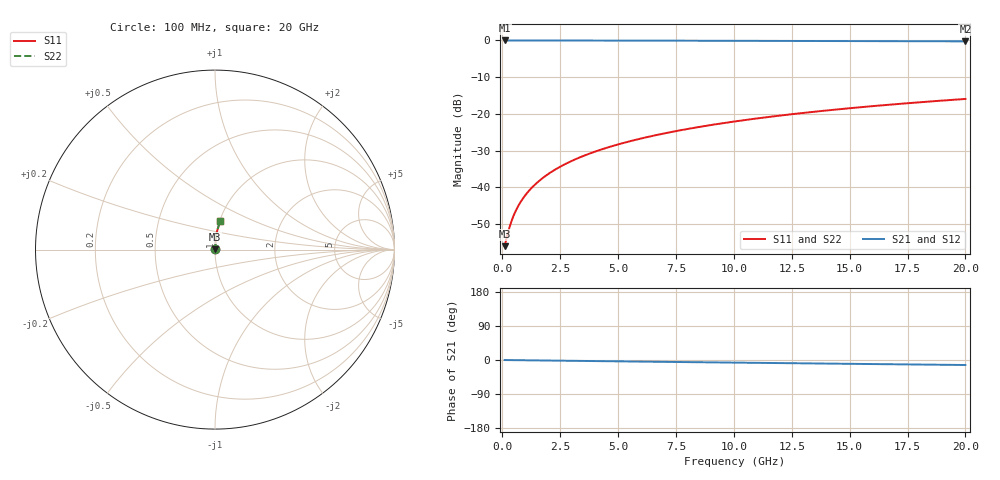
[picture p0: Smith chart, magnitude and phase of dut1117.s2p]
! Touchstone file exported from HFSS 2024.1.0
!  File:  C:/UserFiles/LocalFiles/RDL_TSV_Batchsim/temp_RDL_top_1117_1780046919.aedt
!  Generated:  05:30:55 PM May 29, 2026
!  Design:  RDL_top
!  Project:  temp_RDL_top_1117_1780046919
!  Setup:  Setup1
!  Solution:  Sweep
! Variables:
!  dtsv = 10.80580581um
!  hbump = 3um
!  htsv = 64.33um
!  ldown = 100um
!  lrdl = 154.75um
!  p = 40
!  p1 = 40.44um
!  rhole = 1um
!  t = 450um
!  tdown = 3.915915916um
!  trdl = 3.1um
!  wdown = 15.38538539um
!  wrdl = 15.6um
# GHz S MA R 50.000000
! Terminal data exported
! Port[1] = Box2_T1
! Port[2] = Box2_T2
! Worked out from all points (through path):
!   200 points, 100 MHz to 20 GHz, reference 50 ohm
!   highest |S21| = -0.01 dB at 100 MHz (marker M1); lowest = -0.3 dB at 20 GHz (marker M2)
!   group delay of S21, straight-line fit = 1.82 ps
!   lowest |S11| = -56.1 dB at 100 MHz (marker M3), VSWR 1.00, Z = 50.1 + j0.0808 ohm
!   |S11| at or under -10 dB: start of sweep to end of sweep
!   |S22| runs from -56.1 to -15.9 dB; largest |S21 - S12| = 5.3e-15
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0.1  0.001573 30.8  0.9986 -0.1  0.9986 -0.1  0.001573 30.8
! Gamma 0 0 0 0
! Port Impedance 50 0 50 0
0.2  0.002113 49.3  0.9986 -0.2  0.9986 -0.2  0.002113 49.3
0.3  0.002772 59.4  0.9986 -0.2  0.9986 -0.2  0.002772 59.4
0.4  0.003471 65.3  0.9985 -0.3  0.9985 -0.3  0.003471 65.3
0.5  0.004185 69.2  0.9985 -0.4  0.9985 -0.4  0.004185 69.2
0.6  0.004905 72.0  0.9984 -0.4  0.9984 -0.4  0.004905 72.0
0.8  0.006356 75.8  0.9984 -0.6  0.9984 -0.6  0.006356 75.8
1.1  0.008554 79.2  0.9982 -0.8  0.9982 -0.8  0.008554 79.2
1.3  0.01003 80.6  0.9981 -0.9  0.9981 -0.9  0.01003 80.6
1.6  0.01226 82.2  0.998 -1.2  0.998 -1.2  0.01226 82.2
2.1  0.01601 83.9  0.9977 -1.5  0.9977 -1.5  0.01601 83.9
2.7  0.02055 85.0  0.9973 -1.9  0.9973 -1.9  0.02055 85.0
3.5  0.02666 85.9  0.9966 -2.5  0.9966 -2.5  0.02666 85.9
4.2  0.03205 86.2  0.9959 -3.0  0.9959 -3.0  0.03205 86.2
5  0.03828 86.5  0.995 -3.6  0.995 -3.6  0.03828 86.5
5.9  0.04537 86.5  0.9939 -4.2  0.9939 -4.2  0.04537 86.5
6.8  0.05252 86.4  0.9927 -4.8  0.9927 -4.8  0.05252 86.4
8.3  0.06456 85.9  0.9905 -5.8  0.9905 -5.8  0.06456 85.9
10.1  0.07917 85.2  0.9877 -7.0  0.9877 -7.0  0.07917 85.2
13.4  0.1061 83.4  0.9824 -9.1  0.9824 -9.1  0.1061 83.4
16.7  0.1329 81.3  0.977 -11.2  0.977 -11.2  0.1329 81.3
20  0.1594 79.1  0.9713 -13.2  0.9713 -13.2  0.1594 79.1
